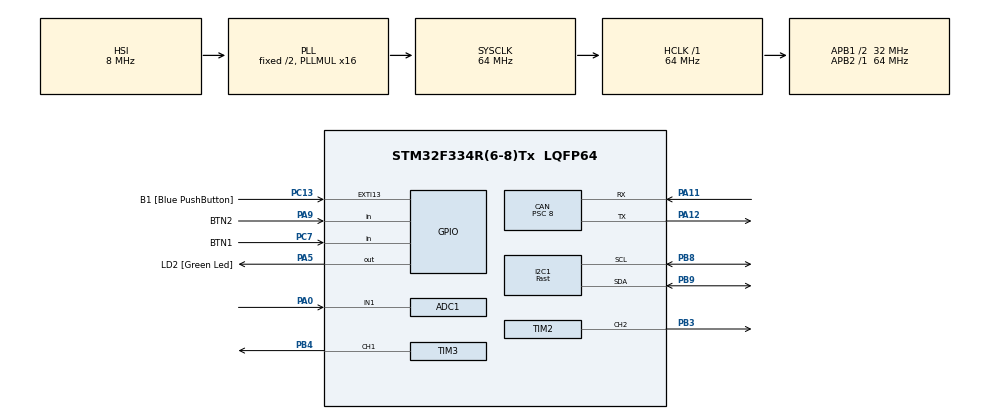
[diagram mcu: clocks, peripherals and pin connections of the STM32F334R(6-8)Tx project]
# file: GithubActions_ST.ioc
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ADC1.Channel-0\#ChannelRegularConversion=ADC_CHANNEL_1
ADC1.ContinuousConvMode=ENABLE
ADC1.NbrOfConversionFlag=1
ADC1.Offset-0\#ChannelRegularConversion=0
ADC1.OffsetNumber-0\#ChannelRegularConversion=ADC_OFFSET_NONE
ADC1.Rank-0\#ChannelRegularConversion=1
ADC1.SamplingTime-0\#ChannelRegularConversion=ADC_SAMPLETIME_1CYCLE_5
ADC1.SubFamily=STM32F334x8
ADC1.master=1
CAN.BS1=CAN_BS1_5TQ
CAN.BS2=CAN_BS2_2TQ
CAN.CalculateBaudRate=500000
CAN.CalculateTimeBit=2000
CAN.CalculateTimeQuantum=250.0
CAN.Mode=CAN_MODE_NORMAL
CAN.NART=ENABLE
CAN.Prescaler=8
Dma.Request0=TIM3_CH1/TRIG
Dma.TIM3_CH1/TRIG.0.Direction=DMA_MEMORY_TO_PERIPH
Dma.TIM3_CH1/TRIG.0.Instance=DMA1_Channel6
Dma.TIM3_CH1/TRIG.0.MemDataAlignment=DMA_MDATAALIGN_WORD
Dma.TIM3_CH1/TRIG.0.MemInc=DMA_MINC_ENABLE
Dma.TIM3_CH1/TRIG.0.Mode=DMA_NORMAL
Dma.TIM3_CH1/TRIG.0.PeriphDataAlignment=DMA_PDATAALIGN_WORD
Dma.TIM3_CH1/TRIG.0.PeriphInc=DMA_PINC_DISABLE
Dma.TIM3_CH1/TRIG.0.Priority=DMA_PRIORITY_VERY_HIGH
I2C1.I2C_Speed_Mode=I2C_Fast
I2C1.Timing=0x0000020B
Mcu.Family=STM32F3
Mcu.Name=STM32F334R(6-8)Tx
Mcu.Package=LQFP64
NVIC.CAN_RX0_IRQn=true\:0\:0\:false\:false\:true\:true\:true\:true
NVIC.CAN_TX_IRQn=true\:0\:0\:false\:false\:true\:true\:true\:true
NVIC.DMA1_Channel6_IRQn=true\:0\:0\:false\:false\:true\:false\:true\:true
NVIC.PriorityGroup=NVIC_PRIORITYGROUP_0
NVIC.TIM6_DAC1_IRQn=true\:0\:0\:false\:false\:true\:true\:true\:true
PA0.Mode=IN1-Single-Ended
PA0.Signal=ADC1_IN1
PA11.Mode=CAN_Activate
PA11.Signal=CAN_RX
PA12.Mode=CAN_Activate
PA12.Signal=CAN_TX
PA13.GPIO_Label=TMS
PA13.Mode=Serial_Wire
PA13.Signal=SYS_JTMS-SWDIO
PA14.GPIO_Label=TCK
PA14.Mode=Serial_Wire
PA14.Signal=SYS_JTCK-SWCLK
PA5.GPIO_Label=LD2 [Green Led]
PA5.Signal=GPIO_Output
PA9.GPIO_Label=BTN2
PA9.GPIO_PuPd=GPIO_PULLUP
PA9.Signal=GPIO_Input
PB3.Signal=S_TIM2_CH2
PB4.Signal=S_TIM3_CH1
PB8.Mode=I2C
PB8.Signal=I2C1_SCL
PB9.Mode=I2C
PB9.Signal=I2C1_SDA
PC13.GPIO_Label=B1 [Blue PushButton]
PC13.GPIO_ModeDefaultEXTI=GPIO_MODE_IT_FALLING
PC13.Signal=GPXTI13
PC14\ /\ OSC32_IN.Mode=LSE-External-Oscillator
PC14\ /\ OSC32_IN.Signal=RCC_OSC32_IN
PC15\ /\ OSC32_OUT.GPIO_Label=RCC_OSC32_OUT
PC15\ /\ OSC32_OUT.Mode=LSE-External-Oscillator
PC15\ /\ OSC32_OUT.Signal=RCC_OSC32_OUT
PC7.GPIO_Label=BTN1
PC7.GPIO_PuPd=GPIO_PULLUP
PC7.Signal=GPIO_Input
PF0\ /\ OSC_IN.Mode=HSE-External-Clock-Source
PF0\ /\ OSC_IN.Signal=RCC_OSC_IN
PF1\ /\ OSC_OUT.Signal=RCC_OSC_OUT
ProjectManager.HeapSize=0x200
ProjectManager.StackSize=0x400
ProjectManager.TargetToolchain=STM32CubeIDE
RCC.AHBFreq_Value=64000000
RCC.APB1CLKDivider=RCC_HCLK_DIV2
RCC.APB1Freq_Value=32000000
RCC.APB1TimFreq_Value=64000000
RCC.APB2Freq_Value=64000000
RCC.APB2TimFreq_Value=64000000
RCC.CortexFreq_Value=64000000
RCC.FLatency-AdvancedSettings=FLASH_LATENCY_2
RCC.HCLKFreq_Value=64000000
RCC.HSE_VALUE=8000000
RCC.HSI_VALUE=8000000
RCC.PLLMUL=RCC_PLL_MUL16
RCC.SYSCLKFreq_VALUE=64000000
RCC.SYSCLKSourceVirtual=RCC_SYSCLKSOURCE_PLLCLK
SH.S_TIM2_CH2.0=TIM2_CH2,PWM Generation2 CH2
SH.S_TIM3_CH1.0=TIM3_CH1,PWM Generation1 CH1
TIM2.AutoReloadPreload=TIM_AUTORELOAD_PRELOAD_ENABLE
TIM2.Channel-PWM\ Generation2\ CH2=TIM_CHANNEL_2
TIM2.Period=63999
TIM2.Prescaler=19
TIM3.Channel-PWM\ Generation1\ CH1=TIM_CHANNEL_1
TIM3.Period=76
TIM6.Period=1000
TIM6.Prescaler=63
VP_TIM6_VS_ClockSourceINT.Mode=Enable_Timer
board=NUCLEO-F334R8

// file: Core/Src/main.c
/* USER CODE BEGIN Header */
/**
 ******************************************************************************
 * @file           : main.c
 * @brief          : Main program body
 ******************************************************************************
 * @attention
 *
 * Copyright (c) 2024 STMicroelectronics.
 * All rights reserved.
 *
 * This software is licensed under terms that can be found in the LICENSE file
 * in the root directory of this software component.
 * If no LICENSE file comes with this software, it is provided AS-IS.
 *
 ******************************************************************************
 */
/* USER CODE END Header */
#include "main.h"

/* USER CODE BEGIN Includes */
#include "xcp.h"
#include "BalanceTube.h"
/* USER CODE END Includes */

ADC_HandleTypeDef hadc1;

CAN_HandleTypeDef hcan;

I2C_HandleTypeDef hi2c1;

TIM_HandleTypeDef htim2;
TIM_HandleTypeDef htim3;
TIM_HandleTypeDef htim6;
DMA_HandleTypeDef hdma_tim3_ch1_trig;

void SystemClock_Config(void);
static void MX_GPIO_Init(void);
static void MX_DMA_Init(void);
static void MX_CAN_Init(void);
static void MX_TIM6_Init(void);
static void MX_I2C1_Init(void);
static void MX_TIM2_Init(void);
static void MX_TIM3_Init(void);
static void MX_ADC1_Init(void);

/* USER CODE BEGIN 0 */
extern void XcpMem_Initialize();
/* USER CODE END 0 */

int main(void) {

	/* MCU Configuration--------------------------------------------------------*/

	/* Reset of all peripherals, Initializes the Flash interface and the Systick. */
	HAL_Init();

	/* Configure the system clock */
	SystemClock_Config();

	/* Initialize all configured peripherals */
	MX_GPIO_Init();
	MX_DMA_Init();
	MX_CAN_Init();
	MX_TIM6_Init();
	MX_I2C1_Init();
	MX_TIM2_Init();
	MX_TIM3_Init();
	MX_ADC1_Init();
	/* USER CODE BEGIN 2 */
	XcpMem_Initialize();

	/*##-2- Configure the CAN Filter ###########################################*/
	CAN_FilterTypeDef sFilterConfig;
	sFilterConfig.FilterBank = 0;
	sFilterConfig.FilterMode = CAN_FILTERMODE_IDMASK;
	sFilterConfig.FilterScale = CAN_FILTERSCALE_32BIT;
	sFilterConfig.FilterIdHigh = 0x0000;
	sFilterConfig.FilterIdLow = 0x0000;
	sFilterConfig.FilterMaskIdHigh = 0x0000;
	sFilterConfig.FilterMaskIdLow = 0x0000;
	sFilterConfig.FilterFIFOAssignment = CAN_RX_FIFO0;
	sFilterConfig.FilterActivation = ENABLE;
	sFilterConfig.SlaveStartFilterBank = 14;

	if (HAL_CAN_ConfigFilter(&hcan, &sFilterConfig) != HAL_OK) {
		/* Filter configuration Error */
		Error_Handler();
	}

	/*##-3- Start the CAN peripheral ###########################################*/
	if (HAL_CAN_Start(&hcan) != HAL_OK) {
		/* Start Error */
		Error_Handler();
	}

	/*##-4- Activate CAN RX/TX notifications #######################################*/
	if (HAL_CAN_ActivateNotification(&hcan, CAN_IT_RX_FIFO0_MSG_PENDING)
			!= HAL_OK) {
		/* Notification Error */
		Error_Handler();
	}
	if (HAL_CAN_ActivateNotification(&hcan, CAN_IT_TX_MAILBOX_EMPTY)
			!= HAL_OK) {
		/* Notification Error */
		Error_Handler();
	}

	Xcp_Initialize();
	initializeBalanceTube();
	HAL_TIM_Base_Start_IT(&htim6);
	/* USER CODE END 2 */

	/* Infinite loop */
	/* USER CODE BEGIN WHILE */
	while (1) {
		runBalanceTube();
		Xcp_CmdProcessor();
		/* USER CODE END WHILE */

	}
}

void SystemClock_Config(void) {
	RCC_OscInitTypeDef RCC_OscInitStruct = { 0 };
	RCC_ClkInitTypeDef RCC_ClkInitStruct = { 0 };
	RCC_PeriphCLKInitTypeDef PeriphClkInit = { 0 };

	/** Initializes the RCC Oscillators according to the specified parameters
	 * in the RCC_OscInitTypeDef structure.
	 */
	RCC_OscInitStruct.OscillatorType = RCC_OSCILLATORTYPE_HSI;
	RCC_OscInitStruct.HSIState = RCC_HSI_ON;
	RCC_OscInitStruct.HSICalibrationValue = RCC_HSICALIBRATION_DEFAULT;
	RCC_OscInitStruct.PLL.PLLState = RCC_PLL_ON;
	RCC_OscInitStruct.PLL.PLLSource = RCC_PLLSOURCE_HSI;
	RCC_OscInitStruct.PLL.PLLMUL = RCC_PLL_MUL16;
	if (HAL_RCC_OscConfig(&RCC_OscInitStruct) != HAL_OK) {
		Error_Handler();
	}

	/** Initializes the CPU, AHB and APB buses clocks
	 */
	RCC_ClkInitStruct.ClockType = RCC_CLOCKTYPE_HCLK | RCC_CLOCKTYPE_SYSCLK
			| RCC_CLOCKTYPE_PCLK1 | RCC_CLOCKTYPE_PCLK2;
	RCC_ClkInitStruct.SYSCLKSource = RCC_SYSCLKSOURCE_PLLCLK;
	RCC_ClkInitStruct.AHBCLKDivider = RCC_SYSCLK_DIV1;
	RCC_ClkInitStruct.APB1CLKDivider = RCC_HCLK_DIV2;
	RCC_ClkInitStruct.APB2CLKDivider = RCC_HCLK_DIV1;

	if (HAL_RCC_ClockConfig(&RCC_ClkInitStruct, FLASH_LATENCY_2) != HAL_OK) {
		Error_Handler();
	}
	PeriphClkInit.PeriphClockSelection = RCC_PERIPHCLK_I2C1
			| RCC_PERIPHCLK_ADC12;
	PeriphClkInit.Adc12ClockSelection = RCC_ADC12PLLCLK_DIV1;
	PeriphClkInit.I2c1ClockSelection = RCC_I2C1CLKSOURCE_HSI;
	if (HAL_RCCEx_PeriphCLKConfig(&PeriphClkInit) != HAL_OK) {
		Error_Handler();
	}
}

static void MX_ADC1_Init(void) {

	ADC_MultiModeTypeDef multimode = { 0 };
	ADC_ChannelConfTypeDef sConfig = { 0 };

	/** Common config
	 */
	hadc1.Instance = ADC1;
	hadc1.Init.ClockPrescaler = ADC_CLOCK_ASYNC_DIV1;
	hadc1.Init.Resolution = ADC_RESOLUTION_12B;
	hadc1.Init.ScanConvMode = ADC_SCAN_DISABLE;
	hadc1.Init.ContinuousConvMode = ENABLE;
	hadc1.Init.DiscontinuousConvMode = DISABLE;
	hadc1.Init.ExternalTrigConvEdge = ADC_EXTERNALTRIGCONVEDGE_NONE;
	hadc1.Init.ExternalTrigConv = ADC_SOFTWARE_START;
	hadc1.Init.DataAlign = ADC_DATAALIGN_RIGHT;
	hadc1.Init.NbrOfConversion = 1;
	hadc1.Init.DMAContinuousRequests = DISABLE;
	hadc1.Init.EOCSelection = ADC_EOC_SINGLE_CONV;
	hadc1.Init.LowPowerAutoWait = DISABLE;
	hadc1.Init.Overrun = ADC_OVR_DATA_OVERWRITTEN;
	if (HAL_ADC_Init(&hadc1) != HAL_OK) {
		Error_Handler();
	}

	/** Configure the ADC multi-mode
	 */
	multimode.Mode = ADC_MODE_INDEPENDENT;
	if (HAL_ADCEx_MultiModeConfigChannel(&hadc1, &multimode) != HAL_OK) {
		Error_Handler();
	}

	/** Configure Regular Channel
	 */
	sConfig.Channel = ADC_CHANNEL_1;
	sConfig.Rank = ADC_REGULAR_RANK_1;
	sConfig.SingleDiff = ADC_SINGLE_ENDED;
	sConfig.SamplingTime = ADC_SAMPLETIME_1CYCLE_5;
	sConfig.OffsetNumber = ADC_OFFSET_NONE;
	sConfig.Offset = 0;
	if (HAL_ADC_ConfigChannel(&hadc1, &sConfig) != HAL_OK) {
		Error_Handler();
	}

}

static void MX_CAN_Init(void) {

	hcan.Instance = CAN;
	hcan.Init.Prescaler = 8;
	hcan.Init.Mode = CAN_MODE_NORMAL;
	hcan.Init.SyncJumpWidth = CAN_SJW_1TQ;
	hcan.Init.TimeSeg1 = CAN_BS1_5TQ;
	hcan.Init.TimeSeg2 = CAN_BS2_2TQ;
	hcan.Init.TimeTriggeredMode = DISABLE;
	hcan.Init.AutoBusOff = DISABLE;
	hcan.Init.AutoWakeUp = DISABLE;
	hcan.Init.AutoRetransmission = ENABLE;
	hcan.Init.ReceiveFifoLocked = DISABLE;
	hcan.Init.TransmitFifoPriority = DISABLE;
	if (HAL_CAN_Init(&hcan) != HAL_OK) {
		Error_Handler();
	}

}

static void MX_I2C1_Init(void) {

	hi2c1.Instance = I2C1;
	hi2c1.Init.Timing = 0x0000020B;
	hi2c1.Init.OwnAddress1 = 0;
	hi2c1.Init.AddressingMode = I2C_ADDRESSINGMODE_7BIT;
	hi2c1.Init.DualAddressMode = I2C_DUALADDRESS_DISABLE;
	hi2c1.Init.OwnAddress2 = 0;
	hi2c1.Init.OwnAddress2Masks = I2C_OA2_NOMASK;
	hi2c1.Init.GeneralCallMode = I2C_GENERALCALL_DISABLE;
	hi2c1.Init.NoStretchMode = I2C_NOSTRETCH_DISABLE;
	if (HAL_I2C_Init(&hi2c1) != HAL_OK) {
		Error_Handler();
	}

	/** Configure Analogue filter
	 */
	if (HAL_I2CEx_ConfigAnalogFilter(&hi2c1, I2C_ANALOGFILTER_ENABLE)
			!= HAL_OK) {
		Error_Handler();
	}

	/** Configure Digital filter
	 */
	if (HAL_I2CEx_ConfigDigitalFilter(&hi2c1, 0) != HAL_OK) {
		Error_Handler();
	}

}

static void MX_TIM2_Init(void) {

	TIM_MasterConfigTypeDef sMasterConfig = { 0 };
	TIM_OC_InitTypeDef sConfigOC = { 0 };

	htim2.Instance = TIM2;
	htim2.Init.Prescaler = 19;
	htim2.Init.CounterMode = TIM_COUNTERMODE_UP;
	htim2.Init.Period = 63999;
	htim2.Init.ClockDivision = TIM_CLOCKDIVISION_DIV1;
	htim2.Init.AutoReloadPreload = TIM_AUTORELOAD_PRELOAD_ENABLE;
	if (HAL_TIM_PWM_Init(&htim2) != HAL_OK) {
		Error_Handler();
	}
	sMasterConfig.MasterOutputTrigger = TIM_TRGO_RESET;
	sMasterConfig.MasterSlaveMode = TIM_MASTERSLAVEMODE_DISABLE;
	if (HAL_TIMEx_MasterConfigSynchronization(&htim2, &sMasterConfig)
			!= HAL_OK) {
		Error_Handler();
	}
	sConfigOC.OCMode = TIM_OCMODE_PWM1;
	sConfigOC.Pulse = 0;
	sConfigOC.OCPolarity = TIM_OCPOLARITY_HIGH;
	sConfigOC.OCFastMode = TIM_OCFAST_DISABLE;
	if (HAL_TIM_PWM_ConfigChannel(&htim2, &sConfigOC, TIM_CHANNEL_2)
			!= HAL_OK) {
		Error_Handler();
	}
	HAL_TIM_MspPostInit(&htim2);

}

static void MX_TIM3_Init(void) {

	TIM_MasterConfigTypeDef sMasterConfig = { 0 };
	TIM_OC_InitTypeDef sConfigOC = { 0 };

	htim3.Instance = TIM3;
	htim3.Init.Prescaler = 0;
	htim3.Init.CounterMode = TIM_COUNTERMODE_UP;
	htim3.Init.Period = 76;
	htim3.Init.ClockDivision = TIM_CLOCKDIVISION_DIV1;
	htim3.Init.AutoReloadPreload = TIM_AUTORELOAD_PRELOAD_DISABLE;
	if (HAL_TIM_PWM_Init(&htim3) != HAL_OK) {
		Error_Handler();
	}
	sMasterConfig.MasterOutputTrigger = TIM_TRGO_RESET;
	sMasterConfig.MasterSlaveMode = TIM_MASTERSLAVEMODE_DISABLE;
	if (HAL_TIMEx_MasterConfigSynchronization(&htim3, &sMasterConfig)
			!= HAL_OK) {
		Error_Handler();
	}
	sConfigOC.OCMode = TIM_OCMODE_PWM1;
	sConfigOC.Pulse = 0;
	sConfigOC.OCPolarity = TIM_OCPOLARITY_HIGH;
	sConfigOC.OCFastMode = TIM_OCFAST_DISABLE;
	if (HAL_TIM_PWM_ConfigChannel(&htim3, &sConfigOC, TIM_CHANNEL_1)
			!= HAL_OK) {
		Error_Handler();
	}
	HAL_TIM_MspPostInit(&htim3);

}

static void MX_TIM6_Init(void) {

	TIM_MasterConfigTypeDef sMasterConfig = { 0 };

	htim6.Instance = TIM6;
	htim6.Init.Prescaler = 63;
	htim6.Init.CounterMode = TIM_COUNTERMODE_UP;
	htim6.Init.Period = 1000;
	htim6.Init.AutoReloadPreload = TIM_AUTORELOAD_PRELOAD_DISABLE;
	if (HAL_TIM_Base_Init(&htim6) != HAL_OK) {
		Error_Handler();
	}
	sMasterConfig.MasterOutputTrigger = TIM_TRGO_RESET;
	sMasterConfig.MasterSlaveMode = TIM_MASTERSLAVEMODE_DISABLE;
	if (HAL_TIMEx_MasterConfigSynchronization(&htim6, &sMasterConfig)
			!= HAL_OK) {
		Error_Handler();
	}

}

static void MX_DMA_Init(void) {

	/* DMA controller clock enable */
	__HAL_RCC_DMA1_CLK_ENABLE();

	/* DMA interrupt init */
	/* DMA1_Channel6_IRQn interrupt configuration */
	HAL_NVIC_SetPriority(DMA1_Channel6_IRQn, 0, 0);
	HAL_NVIC_EnableIRQ(DMA1_Channel6_IRQn);

}

static void MX_GPIO_Init(void) {
	GPIO_InitTypeDef GPIO_InitStruct = { 0 };

	/* GPIO Ports Clock Enable */
	__HAL_RCC_GPIOC_CLK_ENABLE();
	__HAL_RCC_GPIOF_CLK_ENABLE();
	__HAL_RCC_GPIOA_CLK_ENABLE();
	__HAL_RCC_GPIOB_CLK_ENABLE();

	/*Configure GPIO pin Output Level */
	HAL_GPIO_WritePin(LD2_GPIO_Port, LD2_Pin, GPIO_PIN_RESET);

	/*Configure GPIO pin : B1_Pin */
	GPIO_InitStruct.Pin = B1_Pin;
	GPIO_InitStruct.Mode = GPIO_MODE_IT_FALLING;
	GPIO_InitStruct.Pull = GPIO_NOPULL;
	HAL_GPIO_Init(B1_GPIO_Port, &GPIO_InitStruct);

	/*Configure GPIO pin : LD2_Pin */
	GPIO_InitStruct.Pin = LD2_Pin;
	GPIO_InitStruct.Mode = GPIO_MODE_OUTPUT_PP;
	GPIO_InitStruct.Pull = GPIO_NOPULL;
	GPIO_InitStruct.Speed = GPIO_SPEED_FREQ_LOW;
	HAL_GPIO_Init(LD2_GPIO_Port, &GPIO_InitStruct);

	/*Configure GPIO pin : BTN1_Pin */
	GPIO_InitStruct.Pin = BTN1_Pin;
	GPIO_InitStruct.Mode = GPIO_MODE_INPUT;
	GPIO_InitStruct.Pull = GPIO_PULLUP;
	HAL_GPIO_Init(BTN1_GPIO_Port, &GPIO_InitStruct);

	/*Configure GPIO pin : BTN2_Pin */
	GPIO_InitStruct.Pin = BTN2_Pin;
	GPIO_InitStruct.Mode = GPIO_MODE_INPUT;
	GPIO_InitStruct.Pull = GPIO_PULLUP;
	HAL_GPIO_Init(BTN2_GPIO_Port, &GPIO_InitStruct);

}

void Error_Handler(void) {
	__disable_irq();
	while (1) {
	}
}
